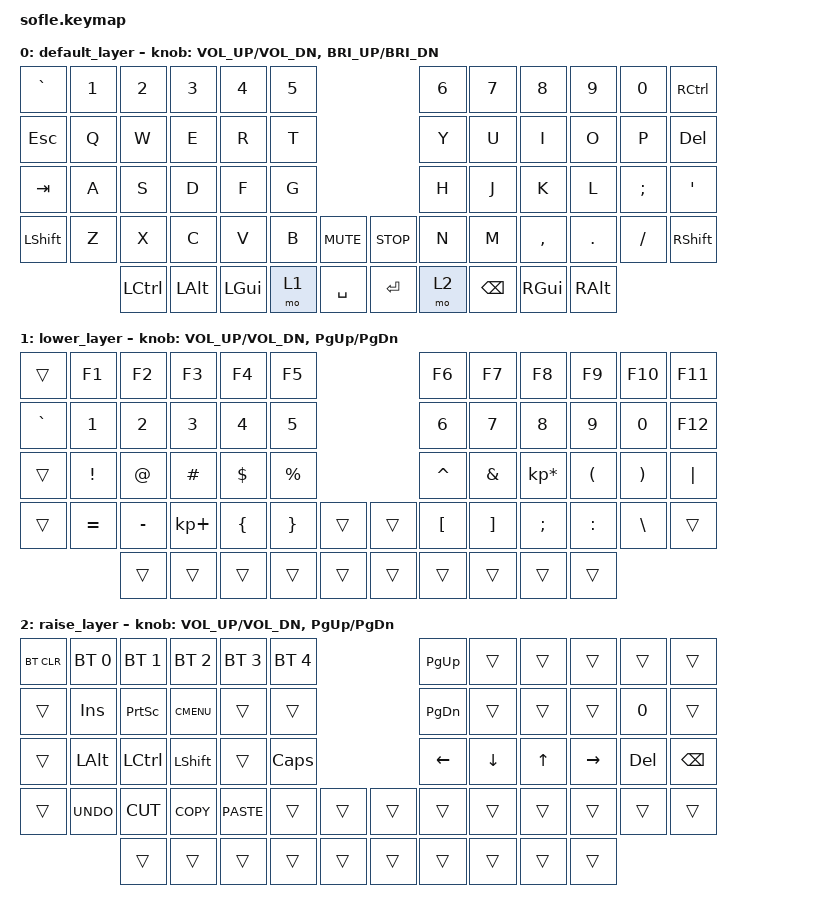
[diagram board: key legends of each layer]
/*
 * Copyright (c) 2020 The ZMK Contributors
 *
 * SPDX-License-Identifier: MIT
 */

#include <behaviors.dtsi>
#include <dt-bindings/zmk/bt.h>
#include <dt-bindings/zmk/keys.h>

/ {
    keymap {
        compatible = "zmk,keymap";

        default_layer {
            // ------------------------------------------------------------------------------------------------------------
            // |  `    |  1  |  2  |  3   |  4   |  5   |                   |  6   |  7    |  8    |  9   |   0   |       |
            // |  ESC  |  Q  |  W  |  E   |  R   |  T   |                   |  Y   |  U    |  I    |  O   |   P   | BKSPC |
            // |  TAB  |  A  |  S  |  D   |  F   |  G   |                   |  H   |  J    |  K    |  L   |   ;   |   '   |
            // | SHIFT |  Z  |  X  |  C   |  V   |  B   |  MUTE  |  |       |  N   |  M    |  ,    |  .   |   /   | SHIFT |
            //               | GUI | ALT  | CTRL | LOWER|  ENTER |  | SPACE | RAISE| CTRL  | ALT   | GUI  |

            bindings = <
&kp GRAVE  &kp N1     &kp N2    &kp N3    &kp N4  &kp N5                            &kp N6         &kp N7         &kp N8         &kp N9    &kp N0   &kp RCTRL
  &kp ESC   &kp Q      &kp W     &kp E     &kp R   &kp T                             &kp Y          &kp U          &kp I          &kp O     &kp P  &kp DELETE
  &kp TAB   &kp A      &kp S     &kp D     &kp F   &kp G                             &kp H          &kp J          &kp K          &kp L  &kp SEMI     &kp SQT
&kp LSHFT   &kp Z      &kp X     &kp C     &kp V   &kp B  &kp C_MUTE    &kp K_STOP   &kp N          &kp M      &kp COMMA        &kp DOT  &kp FSLH   &kp RSHFT
                   &kp LCTRL  &kp LALT  &kp LGUI   &mo 1   &kp SPACE     &kp ENTER   &mo 2  &kp BACKSPACE  &kp RIGHT_GUI  &kp RIGHT_ALT
            >;

            sensor-bindings =
                <&inc_dec_kp C_VOL_UP C_VOL_DN>,
                <&inc_dec_kp C_BRI_UP C_BRI_DN>;
        };

        lower_layer {
            // TODO: Some binds are waiting for shifted keycode support.
            // ------------------------------------------------------------------------------------------------------------
            // |       |  F1 |  F2 |  F3  |  F4  |  F5  |                   |  F6  |  F7   |  F8   |  F9  |  F10  |  F11  |
            // | `     |   1 |   2 |   3  |   4  |   5  |                   |   6  |   7   |   8   |   9  |    0  |  F12  |
            // |       |  !  |  @  |  #   |  $   |  %   |                   |  ^   |  &    |  *    |  (   |   )   |   |   |
            // |       |  =  |  -  |  +   |  {   |  }   |        |  |       |  [   |  ]    |  ;    |  :   |   \   |       |
            //               |     |      |      |      |        |  |       |      |       |       |      |

            bindings = <
   &trans     &kp F1     &kp F2       &kp F3    &kp F4     &kp F5                       &kp F6    &kp F7           &kp F8     &kp F9   &kp F10   &kp F11
&kp GRAVE     &kp N1     &kp N2       &kp N3    &kp N4     &kp N5                       &kp N6    &kp N7           &kp N8     &kp N9    &kp N0   &kp F12
   &trans   &kp EXCL     &kp AT     &kp HASH  &kp DLLR  &kp PRCNT                    &kp CARET  &kp AMPS  &kp KP_MULTIPLY   &kp LPAR  &kp RPAR  &kp PIPE
   &trans  &kp EQUAL  &kp MINUS  &kp KP_PLUS  &kp LBRC   &kp RBRC  &trans    &trans   &kp LBKT  &kp RBKT         &kp SEMI  &kp COLON  &kp BSLH    &trans
                         &trans       &trans    &trans     &trans  &trans    &trans     &trans    &trans           &trans     &trans
            >;

            sensor-bindings = <&inc_dec_kp C_VOL_UP C_VOL_DN &inc_dec_kp PG_UP PG_DN>;
        };

        raise_layer {
            // ------------------------------------------------------------------------------------------------------------
            // |BTCLR| BT1  | BT2  |  BT3  |  BT4  |  BT5 |                |      |      |       |      |       |       |
            // |     | INS  | PSCR | GUI   |       |      |                | PGUP |      |   ^   |      |       |       |
            // |     | ALT  | CTRL | SHIFT |       | CAPS |                | PGDN |   <- |   v   |  ->  |  DEL  | BKSPC |
            // |     | UNDO | CUT  | COPY  | PASTE |      |      |  |      |      |      |       |      |       |       |
            //              |      |       |       |      |      |  |      |      |      |       |      |

            bindings = <
&bt BT_CLR  &bt BT_SEL 0  &bt BT_SEL 1  &bt BT_SEL 2  &bt BT_SEL 3  &bt BT_SEL 4                         &kp PG_UP          &trans        &trans     &trans   &trans    &trans
    &trans       &kp INS     &kp PSCRN   &kp K_CMENU        &trans        &trans                         &kp PG_DN          &trans        &trans     &trans   &kp N0    &trans
    &trans      &kp LALT     &kp LCTRL     &kp LSHFT        &trans      &kp CLCK                    &kp LEFT_ARROW  &kp DOWN_ARROW  &kp UP_ARROW  &kp RIGHT  &kp DEL  &kp BSPC
    &trans    &kp K_UNDO     &kp K_CUT    &kp K_COPY   &kp K_PASTE        &trans  &trans    &trans          &trans          &trans        &trans     &trans   &trans    &trans
                                &trans        &trans        &trans        &trans  &trans    &trans          &trans          &trans        &trans     &trans
            >;

            sensor-bindings = <&inc_dec_kp C_VOL_UP C_VOL_DN &inc_dec_kp PG_UP PG_DN>;
        };
    };
};
